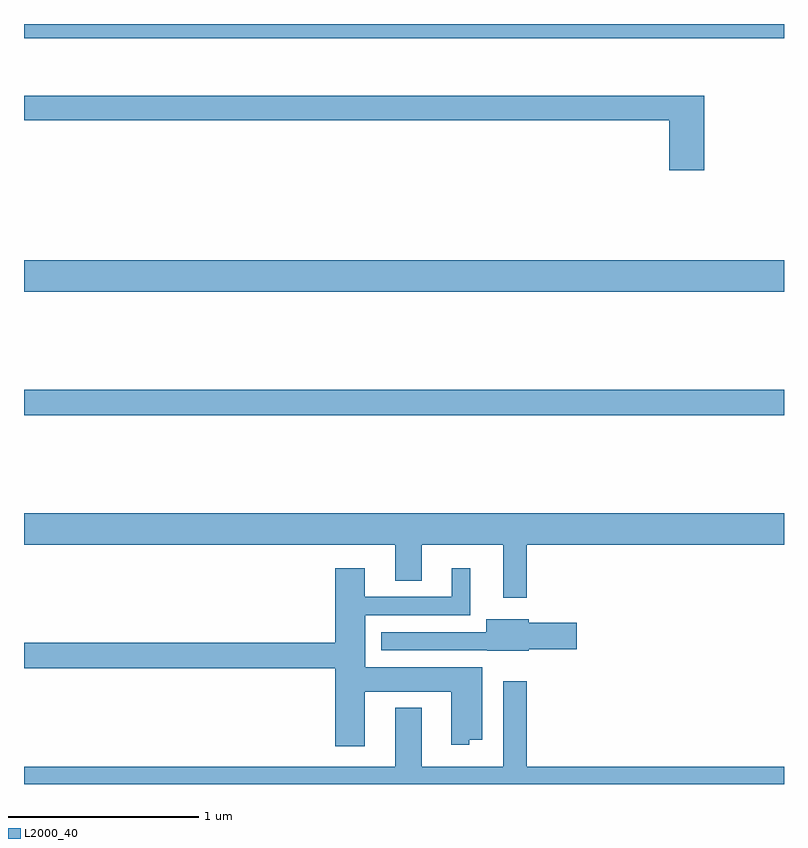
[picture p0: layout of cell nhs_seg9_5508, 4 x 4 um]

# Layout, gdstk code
import gdstk
lib = gdstk.Library(unit=1e-6, precision=1e-09)
def R(c, l, rs):  # rectangles x0, y0, x1, y1
    for r in rs: c.add(gdstk.rectangle(r[:2], r[2:], *l))
def P(c, l, *ps):  # polygons
    for p in ps: c.add(gdstk.Polygon(p, *l))
L2000_40 = (2000, 40)

nhs_seg9_5508 = lib.new_cell('nhs_seg9_5508')
R(nhs_seg9_5508, L2000_40, [(431,1190.44,435,1190.576), (431,1191.092,435,1191.256), (431,1192.424,435,1192.5)])
P(nhs_seg9_5508, L2000_40, [(434.579,1192.123),(431,1192.123),(431,1191.994),(434.396,1191.994),(434.396,1191.729),(434.579,1191.729)],
  [(433.645,1189.76),(435,1189.76),(435,1189.924),(431,1189.924),(431,1189.76),(432.953,1189.76),(432.953,1189.57),(433.093,1189.57),(433.093,1189.76),(433.523,1189.76),(433.523,1189.479),(433.645,1189.479)],
  [(432.793,1188.986),(433.248,1188.986),(433.248,1188.707),(433.344,1188.707),(433.344,1188.734),(433.411,1188.734),(433.411,1189.114),(432.796,1189.114),(432.796,1189.389),(433.348,1189.389),(433.348,1189.636),(433.25,1189.636),(433.25,1189.485),(432.793,1189.485),(432.793,1189.636),(432.638,1189.636),(432.638,1189.244),(431,1189.244),(431,1189.108),(432.638,1189.108),(432.638,1188.699),(432.793,1188.699)],
  [(433.656,1189.208),(433.909,1189.208),(433.909,1189.35),(433.656,1189.35),(433.656,1189.366),(433.433,1189.366),(433.433,1189.299),(432.881,1189.299),(432.881,1189.203),(433.437,1189.203),(433.437,1189.202),(433.656,1189.202)],
  [(435,1188.592),(433.645,1188.592),(433.645,1189.042),(433.523,1189.042),(433.523,1188.592),(433.093,1188.592),(433.093,1188.901),(432.953,1188.901),(432.953,1188.592),(431,1188.592),(431,1188.5),(435,1188.5)])

lib.write_gds('nhs_seg9_5508.gds')
